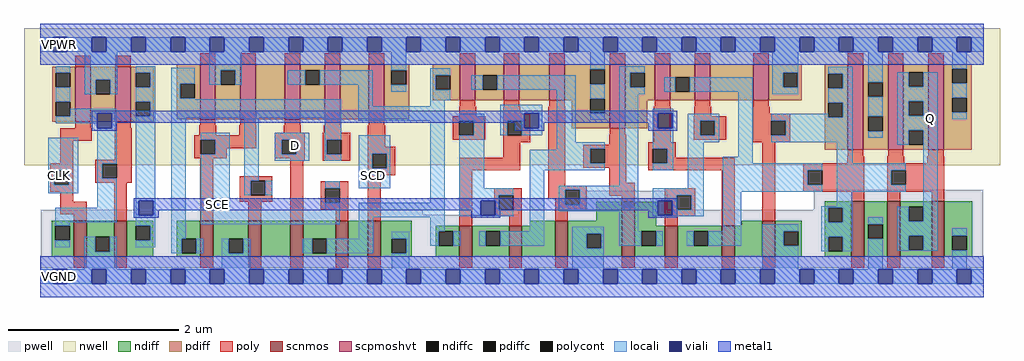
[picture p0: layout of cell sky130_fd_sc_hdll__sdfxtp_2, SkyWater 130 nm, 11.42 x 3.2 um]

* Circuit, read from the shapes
.subckt sky130_fd_sc_hdll__sdfxtp_2 CLK D SCD SCE VGND VNB VPB VPWR Q
XM1 VGND CLK n1 VNB sky130_fd_pr__nfet_01v8 w=0.42 l=0.15
XM2 n2 n1 VGND VNB sky130_fd_pr__nfet_01v8 w=0.42 l=0.15
XM3 VGND SCE n3 VNB sky130_fd_pr__nfet_01v8 w=0.42 l=0.15
XM4 n4 n3 VGND VNB sky130_fd_pr__nfet_01v8 w=0.42 l=0.15
XM5 n5 D n4 VNB sky130_fd_pr__nfet_01v8 w=0.42 l=0.15
XM6 n6 SCE n5 VNB sky130_fd_pr__nfet_01v8 w=0.42 l=0.15
XM7 VGND SCD n6 VNB sky130_fd_pr__nfet_01v8 w=0.42 l=0.15
XM8 n7 n1 n5 VNB sky130_fd_pr__nfet_01v8 w=0.36 l=0.15
XM9 n8 n2 n7 VNB sky130_fd_pr__nfet_01v8 w=0.36 l=0.15
XM10 VGND n9 n8 VNB sky130_fd_pr__nfet_01v8 w=0.42 l=0.15
XM11 n9 n7 VGND VNB sky130_fd_pr__nfet_01v8 w=0.64 l=0.15
XM12 n10 n2 n9 VNB sky130_fd_pr__nfet_01v8 w=0.36 l=0.15
XM13 n11 n1 n10 VNB sky130_fd_pr__nfet_01v8 w=0.36 l=0.15
XM14 VGND n12 n11 VNB sky130_fd_pr__nfet_01v8 w=0.42 l=0.15
XM15 VGND n10 n12 VNB sky130_fd_pr__nfet_01v8 w=0.65 l=0.15
XM16 Q n12 VGND VNB sky130_fd_pr__nfet_01v8 w=0.65 l=0.15 m=2
XM17 VPWR CLK n1 VPB sky130_fd_pr__pfet_01v8_hvt w=0.64 l=0.18
XM18 n2 n1 VPWR VPB sky130_fd_pr__pfet_01v8_hvt w=0.64 l=0.18
XM19 VPWR SCE n3 VPB sky130_fd_pr__pfet_01v8_hvt w=0.64 l=0.18
XM20 n13 SCE VPWR VPB sky130_fd_pr__pfet_01v8_hvt w=0.64 l=0.18
XM21 n5 D n13 VPB sky130_fd_pr__pfet_01v8_hvt w=0.64 l=0.18
XM22 n14 n3 n5 VPB sky130_fd_pr__pfet_01v8_hvt w=0.64 l=0.18
XM23 VPWR SCD n14 VPB sky130_fd_pr__pfet_01v8_hvt w=0.64 l=0.18
XM24 n7 n2 n5 VPB sky130_fd_pr__pfet_01v8_hvt w=0.42 l=0.18
XM25 n15 n1 n7 VPB sky130_fd_pr__pfet_01v8_hvt w=0.42 l=0.18
XM26 VPWR n9 n15 VPB sky130_fd_pr__pfet_01v8_hvt w=0.42 l=0.18
XM27 n9 n7 VPWR VPB sky130_fd_pr__pfet_01v8_hvt w=0.75 l=0.18
XM28 n10 n1 n9 VPB sky130_fd_pr__pfet_01v8_hvt w=0.42 l=0.18
XM29 n16 n2 n10 VPB sky130_fd_pr__pfet_01v8_hvt w=0.42 l=0.18
XM30 VPWR n12 n16 VPB sky130_fd_pr__pfet_01v8_hvt w=0.42 l=0.18
XM31 VPWR n10 n12 VPB sky130_fd_pr__pfet_01v8_hvt w=1 l=0.18
XM32 Q n12 VPWR VPB sky130_fd_pr__pfet_01v8_hvt w=1 l=0.18 m=2
.ends

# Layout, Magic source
magic
tech sky130A
magscale 1 2
<< nwell >>
rect -38 261 2246 582
<< pwell >>
rect 1275 157 1467 201
rect 1810 157 2207 203
rect 1 145 895 157
rect 1119 145 2207 157
rect 1 21 2207 145
rect 29 -17 63 21
<< scnmos >>
rect 79 47 109 131
rect 173 47 203 131
rect 375 47 405 131
rect 487 47 517 131
rect 585 47 615 131
rect 691 47 721 131
rect 767 47 797 131
rect 981 47 1011 119
rect 1097 47 1127 119
rect 1205 47 1235 131
rect 1361 47 1391 175
rect 1462 47 1492 119
rect 1595 47 1625 119
rect 1690 47 1720 131
rect 1898 47 1928 177
rect 1982 47 2012 177
rect 2086 47 2116 177
<< scpmoshvt >>
rect 82 363 118 491
rect 176 363 212 491
rect 374 369 410 497
rect 468 369 504 497
rect 572 369 608 497
rect 666 369 702 497
rect 769 369 805 497
rect 982 413 1018 497
rect 1085 413 1121 497
rect 1191 413 1227 497
rect 1333 347 1369 497
rect 1438 413 1474 497
rect 1532 413 1568 497
rect 1669 413 1705 497
rect 1890 297 1926 497
rect 1984 297 2020 497
rect 2078 297 2114 497
<< ndiff >>
rect 27 119 79 131
rect 27 85 35 119
rect 69 85 79 119
rect 27 47 79 85
rect 109 93 173 131
rect 109 59 129 93
rect 163 59 173 93
rect 109 47 173 59
rect 203 119 265 131
rect 203 85 223 119
rect 257 85 265 119
rect 203 47 265 85
rect 319 89 375 131
rect 319 55 331 89
rect 365 55 375 89
rect 319 47 375 55
rect 405 89 487 131
rect 405 55 441 89
rect 475 55 487 89
rect 405 47 487 55
rect 517 47 585 131
rect 615 89 691 131
rect 615 55 636 89
rect 670 55 691 89
rect 615 47 691 55
rect 721 47 767 131
rect 797 89 869 131
rect 1301 131 1361 175
rect 1145 119 1205 131
rect 797 55 823 89
rect 857 55 869 89
rect 797 47 869 55
rect 925 107 981 119
rect 925 73 933 107
rect 967 73 981 107
rect 925 47 981 73
rect 1011 107 1097 119
rect 1011 73 1043 107
rect 1077 73 1097 107
rect 1011 47 1097 73
rect 1127 47 1205 119
rect 1235 101 1361 131
rect 1235 67 1279 101
rect 1313 67 1361 101
rect 1235 47 1361 67
rect 1391 119 1441 175
rect 1836 162 1898 177
rect 1640 119 1690 131
rect 1391 107 1462 119
rect 1391 73 1407 107
rect 1441 73 1462 107
rect 1391 47 1462 73
rect 1492 107 1595 119
rect 1492 73 1529 107
rect 1563 73 1595 107
rect 1492 47 1595 73
rect 1625 47 1690 119
rect 1720 107 1782 131
rect 1720 73 1740 107
rect 1774 73 1782 107
rect 1720 47 1782 73
rect 1836 128 1844 162
rect 1878 128 1898 162
rect 1836 94 1898 128
rect 1836 60 1844 94
rect 1878 60 1898 94
rect 1836 47 1898 60
rect 1928 123 1982 177
rect 1928 89 1938 123
rect 1972 89 1982 123
rect 1928 47 1982 89
rect 2012 164 2086 177
rect 2012 130 2032 164
rect 2066 130 2086 164
rect 2012 96 2086 130
rect 2012 62 2032 96
rect 2066 62 2086 96
rect 2012 47 2086 62
rect 2116 96 2181 177
rect 2116 62 2134 96
rect 2168 62 2181 96
rect 2116 47 2181 62
<< pdiff >>
rect 28 477 82 491
rect 28 443 36 477
rect 70 443 82 477
rect 28 409 82 443
rect 28 375 36 409
rect 70 375 82 409
rect 28 363 82 375
rect 118 461 176 491
rect 118 427 130 461
rect 164 427 176 461
rect 118 363 176 427
rect 212 477 266 491
rect 212 443 224 477
rect 258 443 266 477
rect 212 409 266 443
rect 212 375 224 409
rect 258 375 266 409
rect 212 363 266 375
rect 320 452 374 497
rect 320 418 328 452
rect 362 418 374 452
rect 320 369 374 418
rect 410 483 468 497
rect 410 449 422 483
rect 456 449 468 483
rect 410 369 468 449
rect 504 369 572 497
rect 608 483 666 497
rect 608 449 620 483
rect 654 449 666 483
rect 608 369 666 449
rect 702 369 769 497
rect 805 483 864 497
rect 805 449 822 483
rect 856 449 864 483
rect 805 369 864 449
rect 918 472 982 497
rect 918 438 926 472
rect 960 438 982 472
rect 918 413 982 438
rect 1018 472 1085 497
rect 1018 438 1035 472
rect 1069 438 1085 472
rect 1018 413 1085 438
rect 1121 413 1191 497
rect 1227 485 1333 497
rect 1227 451 1287 485
rect 1321 451 1333 485
rect 1227 417 1333 451
rect 1227 413 1287 417
rect 1244 383 1287 413
rect 1321 383 1333 417
rect 1244 347 1333 383
rect 1369 477 1438 497
rect 1369 443 1381 477
rect 1415 443 1438 477
rect 1369 413 1438 443
rect 1474 467 1532 497
rect 1474 433 1486 467
rect 1520 433 1532 467
rect 1474 413 1532 433
rect 1568 413 1669 497
rect 1705 477 1782 497
rect 1705 443 1739 477
rect 1773 443 1782 477
rect 1705 413 1782 443
rect 1836 475 1890 497
rect 1836 441 1844 475
rect 1878 441 1890 475
rect 1369 347 1421 413
rect 1836 407 1890 441
rect 1836 373 1844 407
rect 1878 373 1890 407
rect 1836 297 1890 373
rect 1926 455 1984 497
rect 1926 421 1938 455
rect 1972 421 1984 455
rect 1926 375 1984 421
rect 1926 341 1938 375
rect 1972 341 1984 375
rect 1926 297 1984 341
rect 2020 479 2078 497
rect 2020 445 2032 479
rect 2066 445 2078 479
rect 2020 411 2078 445
rect 2020 377 2032 411
rect 2066 377 2078 411
rect 2020 343 2078 377
rect 2020 309 2032 343
rect 2066 309 2078 343
rect 2020 297 2078 309
rect 2114 487 2180 497
rect 2114 453 2134 487
rect 2168 453 2180 487
rect 2114 419 2180 453
rect 2114 385 2134 419
rect 2168 385 2180 419
rect 2114 297 2180 385
<< ndiffc >>
rect 35 85 69 119
rect 129 59 163 93
rect 223 85 257 119
rect 331 55 365 89
rect 441 55 475 89
rect 636 55 670 89
rect 823 55 857 89
rect 933 73 967 107
rect 1043 73 1077 107
rect 1279 67 1313 101
rect 1407 73 1441 107
rect 1529 73 1563 107
rect 1740 73 1774 107
rect 1844 128 1878 162
rect 1844 60 1878 94
rect 1938 89 1972 123
rect 2032 130 2066 164
rect 2032 62 2066 96
rect 2134 62 2168 96
<< pdiffc >>
rect 36 443 70 477
rect 36 375 70 409
rect 130 427 164 461
rect 224 443 258 477
rect 224 375 258 409
rect 328 418 362 452
rect 422 449 456 483
rect 620 449 654 483
rect 822 449 856 483
rect 926 438 960 472
rect 1035 438 1069 472
rect 1287 451 1321 485
rect 1287 383 1321 417
rect 1381 443 1415 477
rect 1486 433 1520 467
rect 1739 443 1773 477
rect 1844 441 1878 475
rect 1844 373 1878 407
rect 1938 421 1972 455
rect 1938 341 1972 375
rect 2032 445 2066 479
rect 2032 377 2066 411
rect 2032 309 2066 343
rect 2134 453 2168 487
rect 2134 385 2168 419
<< poly >>
rect 82 491 118 517
rect 176 491 212 517
rect 374 497 410 523
rect 468 497 504 523
rect 572 497 608 523
rect 666 497 702 523
rect 769 497 805 523
rect 982 497 1018 523
rect 1085 497 1121 523
rect 1191 497 1227 523
rect 1333 497 1369 523
rect 1438 497 1474 523
rect 1532 497 1568 523
rect 1669 497 1705 523
rect 1890 497 1926 523
rect 1984 497 2020 523
rect 2078 497 2114 523
rect 982 398 1018 413
rect 1085 398 1121 413
rect 1191 398 1227 413
rect 980 375 1020 398
rect 1083 381 1123 398
rect 82 348 118 363
rect 176 348 212 363
rect 374 354 410 369
rect 468 354 504 369
rect 572 354 608 369
rect 666 354 702 369
rect 769 354 805 369
rect 965 365 1041 375
rect 47 318 120 348
rect 47 265 77 318
rect 174 274 214 348
rect 372 331 412 354
rect 466 331 506 354
rect 570 337 610 354
rect 664 337 704 354
rect 360 321 506 331
rect 360 287 376 321
rect 410 301 506 321
rect 549 321 619 337
rect 410 287 436 301
rect 360 277 436 287
rect 549 287 565 321
rect 599 287 619 321
rect 549 277 619 287
rect 23 249 77 265
rect 23 215 33 249
rect 67 215 77 249
rect 129 264 214 274
rect 129 230 145 264
rect 179 230 214 264
rect 129 220 214 230
rect 23 199 77 215
rect 47 176 77 199
rect 47 146 109 176
rect 79 131 109 146
rect 173 131 203 220
rect 375 131 405 277
rect 585 271 619 277
rect 661 321 725 337
rect 661 287 671 321
rect 705 287 725 321
rect 661 271 725 287
rect 767 304 807 354
rect 965 331 981 365
rect 1015 331 1041 365
rect 965 321 1041 331
rect 1083 365 1147 381
rect 1083 331 1093 365
rect 1127 331 1147 365
rect 1083 315 1147 331
rect 767 288 831 304
rect 467 225 543 235
rect 467 191 493 225
rect 527 191 543 225
rect 467 175 543 191
rect 487 131 517 175
rect 585 131 615 271
rect 767 254 777 288
rect 811 254 831 288
rect 1083 279 1123 315
rect 767 238 831 254
rect 981 249 1123 279
rect 657 207 721 223
rect 657 173 667 207
rect 701 173 721 207
rect 657 157 721 173
rect 691 131 721 157
rect 767 131 797 238
rect 981 119 1011 249
rect 1189 213 1229 398
rect 1438 398 1474 413
rect 1532 398 1568 413
rect 1669 398 1705 413
rect 1333 332 1369 347
rect 1331 309 1371 332
rect 1436 315 1476 398
rect 1530 375 1570 398
rect 1667 381 1707 398
rect 1529 365 1605 375
rect 1529 331 1545 365
rect 1579 331 1605 365
rect 1529 321 1605 331
rect 1667 365 1755 381
rect 1667 331 1711 365
rect 1745 331 1755 365
rect 1667 315 1755 331
rect 1271 299 1371 309
rect 1271 265 1287 299
rect 1321 265 1371 299
rect 1271 255 1371 265
rect 1331 220 1371 255
rect 1423 299 1487 315
rect 1423 265 1433 299
rect 1467 279 1487 299
rect 1467 265 1625 279
rect 1423 249 1625 265
rect 1063 191 1127 207
rect 1063 157 1073 191
rect 1107 157 1127 191
rect 1189 203 1279 213
rect 1189 183 1229 203
rect 1063 141 1127 157
rect 1097 119 1127 141
rect 1205 169 1229 183
rect 1263 169 1279 203
rect 1331 190 1391 220
rect 1361 175 1391 190
rect 1462 191 1533 207
rect 1205 159 1279 169
rect 1205 131 1235 159
rect 1462 157 1489 191
rect 1523 157 1533 191
rect 1462 141 1533 157
rect 1462 119 1492 141
rect 1595 119 1625 249
rect 1690 131 1720 315
rect 1890 282 1926 297
rect 1984 282 2020 297
rect 2078 282 2114 297
rect 1888 265 1928 282
rect 1786 249 1928 265
rect 1786 215 1796 249
rect 1830 215 1928 249
rect 1786 199 1928 215
rect 1898 177 1928 199
rect 1982 265 2022 282
rect 2076 265 2116 282
rect 1982 249 2116 265
rect 1982 215 1992 249
rect 2026 215 2116 249
rect 1982 199 2116 215
rect 1982 177 2012 199
rect 2086 177 2116 199
rect 79 21 109 47
rect 173 21 203 47
rect 375 21 405 47
rect 487 21 517 47
rect 585 21 615 47
rect 691 21 721 47
rect 767 21 797 47
rect 981 21 1011 47
rect 1097 21 1127 47
rect 1205 21 1235 47
rect 1361 21 1391 47
rect 1462 21 1492 47
rect 1595 21 1625 47
rect 1690 21 1720 47
rect 1898 21 1928 47
rect 1982 21 2012 47
rect 2086 21 2116 47
<< polycont >>
rect 376 287 410 321
rect 565 287 599 321
rect 33 215 67 249
rect 145 230 179 264
rect 671 287 705 321
rect 981 331 1015 365
rect 1093 331 1127 365
rect 493 191 527 225
rect 777 254 811 288
rect 667 173 701 207
rect 1545 331 1579 365
rect 1711 331 1745 365
rect 1287 265 1321 299
rect 1433 265 1467 299
rect 1073 157 1107 191
rect 1229 169 1263 203
rect 1489 157 1523 191
rect 1796 215 1830 249
rect 1992 215 2026 249
<< locali >>
rect 0 527 29 561
rect 63 527 121 561
rect 155 527 213 561
rect 247 527 305 561
rect 339 527 397 561
rect 431 527 489 561
rect 523 527 581 561
rect 615 527 673 561
rect 707 527 765 561
rect 799 527 857 561
rect 891 527 949 561
rect 983 527 1041 561
rect 1075 527 1133 561
rect 1167 527 1225 561
rect 1259 527 1317 561
rect 1351 527 1409 561
rect 1443 527 1501 561
rect 1535 527 1593 561
rect 1627 527 1685 561
rect 1719 527 1777 561
rect 1811 527 1869 561
rect 1903 527 1961 561
rect 1995 527 2053 561
rect 2087 527 2145 561
rect 2179 527 2208 561
rect 36 477 70 493
rect 36 409 70 443
rect 104 461 180 527
rect 104 427 130 461
rect 164 427 180 461
rect 223 477 269 493
rect 223 443 224 477
rect 258 443 269 477
rect 223 409 269 443
rect 70 382 179 393
rect 70 375 133 382
rect 36 359 133 375
rect 167 348 179 382
rect 19 249 89 325
rect 19 215 33 249
rect 67 215 89 249
rect 19 195 89 215
rect 133 264 179 348
rect 133 230 145 264
rect 133 161 179 230
rect 35 127 179 161
rect 223 375 224 409
rect 258 375 269 409
rect 223 178 269 375
rect 223 144 231 178
rect 265 144 269 178
rect 35 119 69 127
rect 223 119 269 144
rect 35 69 69 85
rect 103 59 129 93
rect 163 59 179 93
rect 257 85 269 119
rect 223 69 269 85
rect 307 452 362 489
rect 307 418 328 452
rect 396 483 472 527
rect 822 483 856 527
rect 396 449 422 483
rect 456 449 472 483
rect 579 449 620 483
rect 654 449 778 483
rect 307 415 362 418
rect 307 372 705 415
rect 307 89 341 372
rect 376 321 443 337
rect 410 287 443 321
rect 376 157 443 287
rect 477 225 511 372
rect 549 321 630 337
rect 549 287 565 321
rect 599 287 630 321
rect 549 271 630 287
rect 666 321 705 372
rect 744 399 778 449
rect 822 433 856 449
rect 913 472 960 488
rect 1287 485 1321 527
rect 913 438 926 472
rect 1009 438 1035 472
rect 1069 438 1253 472
rect 913 413 960 438
rect 913 399 947 413
rect 744 365 947 399
rect 1077 382 1175 402
rect 666 287 671 321
rect 666 271 705 287
rect 745 288 819 331
rect 745 254 777 288
rect 811 254 819 288
rect 477 191 493 225
rect 527 191 543 225
rect 667 207 701 223
rect 745 207 819 254
rect 913 173 947 365
rect 667 157 701 173
rect 376 123 701 157
rect 745 139 947 173
rect 981 365 1039 381
rect 1015 331 1039 365
rect 1077 365 1133 382
rect 1077 331 1093 365
rect 1127 348 1133 365
rect 1167 348 1175 382
rect 1127 331 1175 348
rect 981 207 1039 331
rect 1209 315 1253 438
rect 1287 417 1321 451
rect 1287 367 1321 383
rect 1355 477 1415 493
rect 1355 443 1381 477
rect 1713 477 1774 527
rect 1355 427 1415 443
rect 1460 433 1486 467
rect 1520 433 1667 467
rect 1209 299 1321 315
rect 1209 297 1287 299
rect 1145 265 1287 297
rect 1145 249 1321 265
rect 981 191 1107 207
rect 981 178 1073 191
rect 981 144 1031 178
rect 1065 157 1073 178
rect 1065 144 1107 157
rect 981 141 1107 144
rect 745 89 779 139
rect 913 107 947 139
rect 1145 107 1179 249
rect 1355 213 1399 427
rect 1433 382 1481 393
rect 1433 348 1445 382
rect 1479 348 1481 382
rect 1433 299 1481 348
rect 1467 265 1481 299
rect 1433 249 1481 265
rect 1515 365 1589 381
rect 1515 331 1545 365
rect 1579 331 1589 365
rect 1515 315 1589 331
rect 1213 203 1399 213
rect 1515 207 1553 315
rect 1633 281 1667 433
rect 1713 443 1739 477
rect 1773 443 1774 477
rect 1713 427 1774 443
rect 1844 475 1901 491
rect 1878 441 1901 475
rect 1844 407 1901 441
rect 1711 373 1844 381
rect 1878 373 1901 407
rect 1711 365 1901 373
rect 1745 331 1901 365
rect 1711 315 1901 331
rect 1938 455 1972 527
rect 2134 487 2168 527
rect 1938 375 1972 421
rect 1938 325 1972 341
rect 2006 445 2032 479
rect 2066 445 2100 479
rect 2006 411 2100 445
rect 2006 377 2032 411
rect 2066 377 2100 411
rect 2006 343 2100 377
rect 2134 419 2168 453
rect 2134 369 2168 385
rect 1213 169 1229 203
rect 1263 169 1399 203
rect 1213 153 1399 169
rect 103 17 179 59
rect 307 55 331 89
rect 365 55 381 89
rect 425 55 441 89
rect 475 55 491 89
rect 614 55 636 89
rect 670 55 779 89
rect 823 89 863 105
rect 857 55 863 89
rect 913 73 933 107
rect 967 73 983 107
rect 1027 73 1043 107
rect 1077 73 1179 107
rect 1245 101 1319 117
rect 425 17 491 55
rect 823 17 863 55
rect 1245 67 1279 101
rect 1313 67 1319 101
rect 1355 107 1399 153
rect 1433 191 1553 207
rect 1433 178 1489 191
rect 1433 144 1445 178
rect 1479 157 1489 178
rect 1523 157 1553 191
rect 1479 144 1553 157
rect 1433 141 1553 144
rect 1597 265 1667 281
rect 1864 265 1901 315
rect 2006 309 2032 343
rect 1597 249 1830 265
rect 1597 215 1796 249
rect 1597 199 1830 215
rect 1864 249 2026 265
rect 1864 215 1992 249
rect 1864 199 2026 215
rect 1597 107 1641 199
rect 1864 165 1900 199
rect 1828 162 1900 165
rect 1828 128 1844 162
rect 1878 128 1900 162
rect 1355 73 1407 107
rect 1441 73 1457 107
rect 1513 73 1529 107
rect 1563 73 1641 107
rect 1690 107 1774 123
rect 1690 73 1740 107
rect 1245 17 1319 67
rect 1690 17 1774 73
rect 1828 94 1900 128
rect 1828 60 1844 94
rect 1878 60 1900 94
rect 1938 123 1972 139
rect 1938 17 1972 89
rect 2006 130 2032 164
rect 2066 130 2100 343
rect 2006 96 2100 130
rect 2006 62 2032 96
rect 2066 62 2100 96
rect 2006 61 2100 62
rect 2134 96 2168 113
rect 2134 17 2168 62
rect 0 -17 29 17
rect 63 -17 121 17
rect 155 -17 213 17
rect 247 -17 305 17
rect 339 -17 397 17
rect 431 -17 489 17
rect 523 -17 581 17
rect 615 -17 673 17
rect 707 -17 765 17
rect 799 -17 857 17
rect 891 -17 949 17
rect 983 -17 1041 17
rect 1075 -17 1133 17
rect 1167 -17 1225 17
rect 1259 -17 1317 17
rect 1351 -17 1409 17
rect 1443 -17 1501 17
rect 1535 -17 1593 17
rect 1627 -17 1685 17
rect 1719 -17 1777 17
rect 1811 -17 1869 17
rect 1903 -17 1961 17
rect 1995 -17 2053 17
rect 2087 -17 2145 17
rect 2179 -17 2208 17
<< viali >>
rect 29 527 63 561
rect 121 527 155 561
rect 213 527 247 561
rect 305 527 339 561
rect 397 527 431 561
rect 489 527 523 561
rect 581 527 615 561
rect 673 527 707 561
rect 765 527 799 561
rect 857 527 891 561
rect 949 527 983 561
rect 1041 527 1075 561
rect 1133 527 1167 561
rect 1225 527 1259 561
rect 1317 527 1351 561
rect 1409 527 1443 561
rect 1501 527 1535 561
rect 1593 527 1627 561
rect 1685 527 1719 561
rect 1777 527 1811 561
rect 1869 527 1903 561
rect 1961 527 1995 561
rect 2053 527 2087 561
rect 2145 527 2179 561
rect 133 348 167 382
rect 231 144 265 178
rect 1133 348 1167 382
rect 1031 144 1065 178
rect 1445 348 1479 382
rect 1445 144 1479 178
rect 29 -17 63 17
rect 121 -17 155 17
rect 213 -17 247 17
rect 305 -17 339 17
rect 397 -17 431 17
rect 489 -17 523 17
rect 581 -17 615 17
rect 673 -17 707 17
rect 765 -17 799 17
rect 857 -17 891 17
rect 949 -17 983 17
rect 1041 -17 1075 17
rect 1133 -17 1167 17
rect 1225 -17 1259 17
rect 1317 -17 1351 17
rect 1409 -17 1443 17
rect 1501 -17 1535 17
rect 1593 -17 1627 17
rect 1685 -17 1719 17
rect 1777 -17 1811 17
rect 1869 -17 1903 17
rect 1961 -17 1995 17
rect 2053 -17 2087 17
rect 2145 -17 2179 17
<< metal1 >>
rect 0 561 2208 592
rect 0 527 29 561
rect 63 527 121 561
rect 155 527 213 561
rect 247 527 305 561
rect 339 527 397 561
rect 431 527 489 561
rect 523 527 581 561
rect 615 527 673 561
rect 707 527 765 561
rect 799 527 857 561
rect 891 527 949 561
rect 983 527 1041 561
rect 1075 527 1133 561
rect 1167 527 1225 561
rect 1259 527 1317 561
rect 1351 527 1409 561
rect 1443 527 1501 561
rect 1535 527 1593 561
rect 1627 527 1685 561
rect 1719 527 1777 561
rect 1811 527 1869 561
rect 1903 527 1961 561
rect 1995 527 2053 561
rect 2087 527 2145 561
rect 2179 527 2208 561
rect 0 496 2208 527
rect 121 382 1491 388
rect 121 348 133 382
rect 167 360 1133 382
rect 167 348 179 360
rect 121 342 179 348
rect 1111 348 1133 360
rect 1167 360 1445 382
rect 1167 348 1179 360
rect 1111 342 1179 348
rect 1423 348 1445 360
rect 1479 348 1491 382
rect 1423 342 1491 348
rect 219 178 1491 184
rect 219 144 231 178
rect 265 156 1031 178
rect 265 144 277 156
rect 219 138 277 144
rect 1009 144 1031 156
rect 1065 156 1445 178
rect 1065 144 1077 156
rect 1009 138 1077 144
rect 1423 144 1445 156
rect 1479 144 1491 178
rect 1423 138 1491 144
rect 0 17 2208 48
rect 0 -17 29 17
rect 63 -17 121 17
rect 155 -17 213 17
rect 247 -17 305 17
rect 339 -17 397 17
rect 431 -17 489 17
rect 523 -17 581 17
rect 615 -17 673 17
rect 707 -17 765 17
rect 799 -17 857 17
rect 891 -17 949 17
rect 983 -17 1041 17
rect 1075 -17 1133 17
rect 1167 -17 1225 17
rect 1259 -17 1317 17
rect 1351 -17 1409 17
rect 1443 -17 1501 17
rect 1535 -17 1593 17
rect 1627 -17 1685 17
rect 1719 -17 1777 17
rect 1811 -17 1869 17
rect 1903 -17 1961 17
rect 1995 -17 2053 17
rect 2087 -17 2145 17
rect 2179 -17 2208 17
rect 0 -48 2208 -17
<< labels >>
flabel metal1 s 29 527 63 561 0 FreeSans 200 0 0 0 VPWR
port 8 nsew power bidirectional
flabel metal1 s 29 -17 63 17 0 FreeSans 200 0 0 0 VGND
port 5 nsew ground bidirectional
flabel locali s 397 152 431 186 0 FreeSans 300 0 0 0 SCE
port 4 nsew signal input
flabel locali s 581 289 615 323 0 FreeSans 300 0 0 0 D
port 2 nsew signal input
flabel locali s 764 221 798 255 0 FreeSans 300 0 0 0 SCD
port 3 nsew signal input
flabel locali s 2066 353 2100 387 0 FreeSans 300 0 0 0 Q
port 9 nsew signal output
flabel locali s 29 221 63 255 0 FreeSans 400 0 0 0 CLK
port 1 nsew signal input
flabel pwell s 29 -17 63 17 0 FreeSans 200 0 0 0 VNB
port 6 nsew ground bidirectional
flabel pwell s 46 0 46 0 0 FreeSans 200 0 0 0 VNB
port 6 nsew
flabel nwell s 29 527 63 561 0 FreeSans 200 0 0 0 VPB
port 7 nsew power bidirectional
flabel nwell s 46 544 46 544 0 FreeSans 200 0 0 0 VPB
port 7 nsew
rlabel comment s 0 0 0 0 4 sdfxtp_2
<< properties >>
string LEFsite unithd
string LEFclass CORE
string FIXED_BBOX 0 0 2208 544
string GDS_FILE $PDKPATH/libs.ref/sky130_fd_sc_hdll/gds/sky130_fd_sc_hdll.gds
string LEFsymmetry X Y R90
string GDS_END 2866258
string GDS_START 2850472
string LEFproperties maskLayoutSubType "abstract" prCellType "standard" originalViewName "layout"
<< end >>
